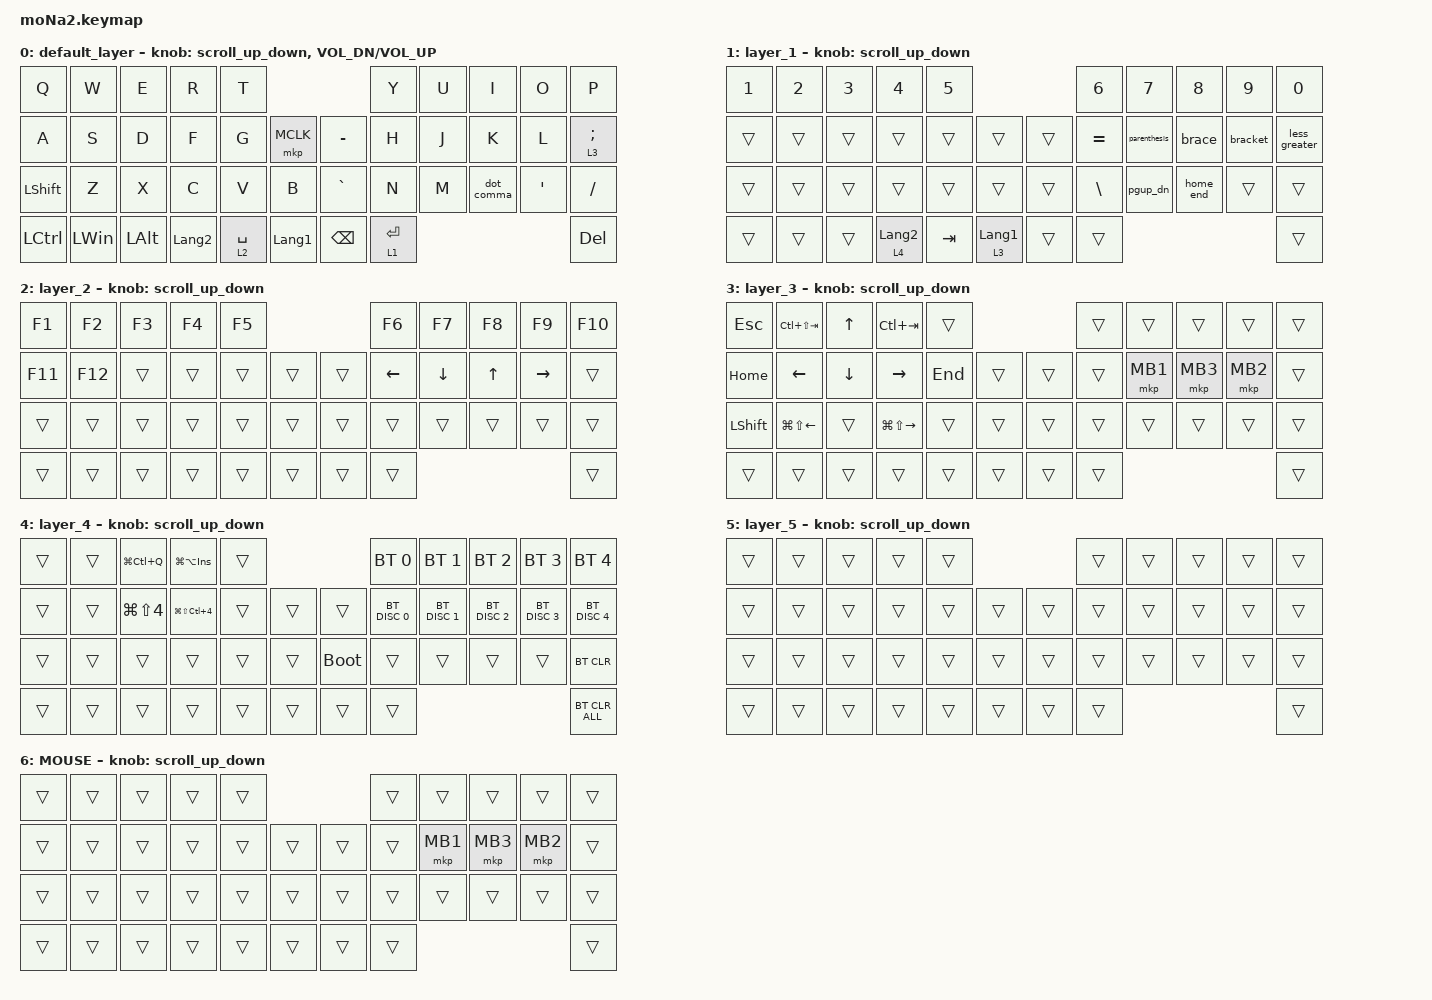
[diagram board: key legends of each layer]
#include <behaviors.dtsi>
#include <dt-bindings/zmk/bt.h>
#include <dt-bindings/zmk/keys.h>
#include <dt-bindings/zmk/pointing.h>

#define ZMK_POINTING_DEFAULT_SCRL_VAL 100
#define MOUSE 6

&mt {
    flavor = "balanced";
    quick-tap-ms = <0>;
};

/ {
    combos { compatible = "zmk,combos"; };

    macros {
        to_layer_0: to_layer_0 {
            compatible = "zmk,behavior-macro-one-param";
            #binding-cells = <1>;
            bindings = <&to 0 &macro_param_1to1 &kp MACRO_PLACEHOLDER>;
            label = "TO_LAYER_0";
        };
    };

    behaviors {
        lt_to_layer_0: lt_to_layer_0 {
            compatible = "zmk,behavior-hold-tap";
            label = "LAYER_TAP_TO_0";
            bindings = <&mo>, <&to_layer_0>;

            #binding-cells = <2>;
            tapping-term-ms = <200>;
        };

        scroll_up_down: behavior_sensor_rotate_mouse_wheel_up_down {
            compatible = "zmk,behavior-sensor-rotate";
            #sensor-binding-cells = <0>;
            bindings = <&msc SCRL_UP>, <&msc SCRL_DOWN>;

            tap-ms = <20>;
        };

        dot_comma: dot_comma {
            compatible = "zmk,behavior-mod-morph";
            label = "DOT_COMMA";
            bindings = <&kp DOT>, <&kp COMMA>;

            #binding-cells = <0>;
            mods = <(MOD_LSFT|MOD_RSFT)>;
        };

        parenthesis: parenthesis {
            compatible = "zmk,behavior-mod-morph";
            label = "PARENTHESIS";
            bindings = <&kp LEFT_PARENTHESIS>, <&kp RIGHT_PARENTHESIS>;

            #binding-cells = <0>;
            mods = <(MOD_LSFT|MOD_RSFT)>;
        };

        brace: brace {
            compatible = "zmk,behavior-mod-morph";
            label = "BRACE";
            bindings = <&kp LEFT_BRACE>, <&kp RIGHT_BRACE>;

            #binding-cells = <0>;
            mods = <(MOD_LSFT|MOD_RSFT)>;
        };

        bracket: bracket {
            compatible = "zmk,behavior-mod-morph";
            label = "BRACKET";
            bindings = <&kp LEFT_BRACKET>, <&kp RIGHT_BRACKET>;

            #binding-cells = <0>;
            mods = <(MOD_LSFT|MOD_RSFT)>;
        };

        less_greater: less_greater {
            compatible = "zmk,behavior-mod-morph";
            label = "LESS_GREATER";
            bindings = <&kp LESS_THAN>, <&kp GREATER_THAN>;

            #binding-cells = <0>;
            mods = <(MOD_LSFT|MOD_RSFT)>;
        };

        pgup_dn: pgup_dn {
            compatible = "zmk,behavior-mod-morph";
            label = "PGUP_DN";
            bindings = <&kp PG_UP>, <&kp PG_DN>;

            #binding-cells = <0>;
            mods = <(MOD_LSFT|MOD_RSFT)>;
        };

        home_end: home_end {
            compatible = "zmk,behavior-mod-morph";
            label = "HOME_END";
            bindings = <&kp HOME>, <&kp END>;

            #binding-cells = <0>;
            mods = <(MOD_LSFT|MOD_RSFT)>;
        };
    };

    keymap {
        compatible = "zmk,keymap";

        default_layer {
            bindings = <
&kp Q           &kp W         &kp E         &kp R           &kp T                                         &kp Y        &kp U  &kp I       &kp O    &kp P
&kp A           &kp S         &kp D         &kp F           &kp G        &mkp MCLK         &kp MINUS      &kp H        &kp J  &kp K       &kp L    &lt 3 SEMICOLON
&kp LEFT_SHIFT  &kp Z         &kp X         &kp C           &kp V        &kp B             &kp GRAVE      &kp N        &kp M  &dot_comma  &kp SQT  &kp SLASH
&kp LCTRL       &kp LEFT_WIN  &kp LEFT_ALT  &kp LANGUAGE_2  &lt 2 SPACE  &kp LANGUAGE_1    &kp BACKSPACE  &lt 1 ENTER                              &kp DEL
            >;

            sensor-bindings =
                <&scroll_up_down>,
                <&inc_dec_kp C_VOL_DN C_VOL_UP>;
        };

        layer_1 {
            bindings = <
&kp N1  &kp N2  &kp N3  &kp N4            &kp N5                               &kp N6     &kp N7        &kp N8     &kp N9    &kp N0
&trans  &trans  &trans  &trans            &trans   &trans              &trans  &kp EQUAL  &parenthesis  &brace     &bracket  &less_greater
&trans  &trans  &trans  &trans            &trans   &trans              &trans  &kp BSLH   &pgup_dn      &home_end  &trans    &trans
&trans  &trans  &trans  &lt 4 LANGUAGE_2  &kp TAB  &lt 3 LANGUAGE_1    &trans  &trans                                        &trans
            >;

            sensor-bindings = <&scroll_up_down>;
        };

        layer_2 {
            bindings = <
&kp F1   &kp F2   &kp F3  &kp F4  &kp F5                    &kp F6    &kp F7          &kp F8        &kp F9     &kp F10
&kp F11  &kp F12  &trans  &trans  &trans  &trans    &trans  &kp LEFT  &kp DOWN_ARROW  &kp UP_ARROW  &kp RIGHT  &trans
&trans   &trans   &trans  &trans  &trans  &trans    &trans  &trans    &trans          &trans        &trans     &trans
&trans   &trans   &trans  &trans  &trans  &trans    &trans  &trans                                             &trans
            >;

            sensor-bindings = <&scroll_up_down>;
        };

        layer_3 {
            bindings = <
&kp ESCAPE      &kp LC(LS(TAB))         &kp UP_ARROW    &kp LC(TAB)              &trans                     &trans  &trans    &trans    &trans    &trans
&kp HOME        &kp LEFT_ARROW          &kp DOWN_ARROW  &kp RIGHT_ARROW          &kp END  &trans    &trans  &trans  &mkp MB1  &mkp MB3  &mkp MB2  &trans
&kp LEFT_SHIFT  &kp LG(LS(LEFT_ARROW))  &trans          &kp LG(LS(RIGHT_ARROW))  &trans   &trans    &trans  &trans  &trans    &trans    &trans    &trans
&trans          &trans                  &trans          &trans                   &trans   &trans    &trans  &trans                                &trans
            >;

            sensor-bindings = <&scroll_up_down>;
        };

        layer_4 {
            bindings = <
&trans  &trans  &kp LG(LC(Q))   &kp LG(LA(INS))     &trans                         &bt BT_SEL 0   &bt BT_SEL 1   &bt BT_SEL 2   &bt BT_SEL 3   &bt BT_SEL 4
&trans  &trans  &kp LG(LS(N4))  &kp LG(LS(LC(N4)))  &trans  &trans    &trans       &bt BT_DISC 0  &bt BT_DISC 1  &bt BT_DISC 2  &bt BT_DISC 3  &bt BT_DISC 4
&trans  &trans  &trans          &trans              &trans  &trans    &bootloader  &trans         &trans         &trans         &trans         &bt BT_CLR
&trans  &trans  &trans          &trans              &trans  &trans    &trans       &trans                                                      &bt BT_CLR_ALL
            >;

            sensor-bindings = <&scroll_up_down>;
        };

        layer_5 {
            bindings = <
&trans  &trans  &trans  &trans  &trans                    &trans  &trans  &trans  &trans  &trans
&trans  &trans  &trans  &trans  &trans  &trans    &trans  &trans  &trans  &trans  &trans  &trans
&trans  &trans  &trans  &trans  &trans  &trans    &trans  &trans  &trans  &trans  &trans  &trans
&trans  &trans  &trans  &trans  &trans  &trans    &trans  &trans                          &trans
            >;

            sensor-bindings = <&scroll_up_down>;
        };

        MOUSE {
            bindings = <
&trans  &trans  &trans  &trans  &trans                    &trans  &trans    &trans    &trans    &trans
&trans  &trans  &trans  &trans  &trans  &trans    &trans  &trans  &mkp MB1  &mkp MB3  &mkp MB2  &trans
&trans  &trans  &trans  &trans  &trans  &trans    &trans  &trans  &trans    &trans    &trans    &trans
&trans  &trans  &trans  &trans  &trans  &trans    &trans  &trans                                &trans
            >;

            sensor-bindings = <&scroll_up_down>;
        };
    };
};
